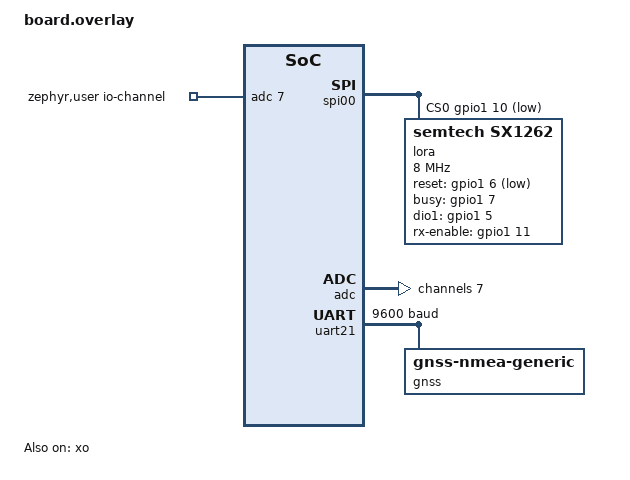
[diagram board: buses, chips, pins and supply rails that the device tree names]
/*
 * SPDX-License-Identifier: MIT
 * XIAO nRF54L15 + Wio-SX1262 LoRa
 *
 * Verified 2026-08-22 against primary sources (see datasheets/README.md):
 * Seeed XIAO nRF54L15 schematic, the Wio-SX1262-for-XIAO carrier schematic,
 * and the Wio-SX1262-N module datasheet.
 *
 * Pin mapping (XIAO nRF54L15 connector → Wio-SX1262):
 * - D1 (P1.05)  = DIO1    - D8  (P2.01)  = SPI SCK  (spi00)
 * - D2 (P1.06)  = RESET   - D9  (P2.04)  = SPI MISO (spi00)
 * - D3 (P1.07)  = BUSY    - D10 (P2.02)  = SPI MOSI (spi00)
 * - D4 (P1.10)  = NSS
 * - D5 (P1.11)  = RXEN
 * The D-pin numbers come from the XIAO schematic's connector sheet, and the
 * same D-pin assignment is used by our xiao_esp32c6 board on this same
 * Wio-SX1262 carrier — two independent boards agreeing on the kit's wiring.
 *
 * Radio module facts, from the Wio-SX1262-N module datasheet:
 * - RF_SW pin: "logic high level means enable receiver mode" → rx-enable-gpios
 *   is active high, which is what is set below.
 * - DIO2 is internally connected to the RF switch, "logic high = enable
 *   transmitter" → dio2-tx-enable, no separate TXEN line.
 * - DIO3 supplies the module's TCXO. Permitted 1.7–3.3 V, and it must stay at
 *   least 200 mV below VCC (3.3 V here), so the 1.8 V below is in range.
 * - The module wires the SX1262 for DC-DC, not LDO. The Zephyr driver already
 *   defaults to DC-DC — `regulator-ldo` must NOT be added to the lora node.
 *
 * Clocks: the XIAO carries its own 32.768 kHz crystal (7 pF, 20 ppm), so the
 * upstream board DTS enables LFXO and this node keeps accurate time. The
 * ME25LS02, the other nRF54L board here, has no such crystal and runs the RC
 * instead — do not copy clock settings between the two.
 *
 * Console: UART20 (P1.09 TX, P1.08 RX) via SAMD11 CMSIS-DAP bridge → USB CDC
 * Flash: RRAM (not traditional NV flash)
 * Flash via: SWD through SAMD11 CMSIS-DAP (west flash / openocd). The
 *   nRF54L15 has no USB peripheral, so there is no UF2 or DFU path — the
 *   published artifact is zephyr.hex, which links at RRAM base 0x0.
 *
 * Battery: the board has a charger (SGM40567, 200 mA) and a 2:1 divider on
 * P1.14/AIN7, gated by P1.15/VBAT_EN (already a boot-on regulator in the
 * upstream DTS). Read via the battery block at the bottom of this file.
 */

#include <zephyr/dt-bindings/lora/sx126x.h>

/ {
	aliases {
		lora0 = &lora;
	};
};

/* Zephyr main (4.5) split the nRF clock driver per clock; each one the
 * application uses must be enabled or it is not built (the BT controller fails
 * to compile without lfclk). Upstream's xiao_nrf54l15 DTS enables only &clock,
 * so we add the same pair as upstream's nrf54l15dk. LFCLK keeps the binding's
 * default source, the XIAO's own crystal (see "Clocks" above). */
&xo {
	status = "okay";
};

&lfclk {
	status = "okay";
};

/* Disable I2C22 — default pins P1.10/P1.11 (D4/D5) conflict with NSS/RXEN */
&i2c22 {
	status = "disabled";
};

/*
 * SX1262 on spi00 (XIAO SPI bus — SCK/MISO/MOSI already in pinctrl).
 *
 * Note the divergence from the ME25LS02, which is the same SoC talking to the
 * same radio: that board deletes `rx-delay-supported`/`rx-delay` from spi00
 * because MinewSemi's working sample does. This board keeps the SoC defaults
 * (rx-delay = 1) and works. Neither setting has been A/B'd on hardware, so
 * they are deliberately left as each board's known-good configuration rather
 * than unified on a guess.
 */
&spi00 {
	cs-gpios = <&gpio1 10 GPIO_ACTIVE_LOW>;  /* D4 = P1.10 NSS */

	lora: lora@0 {
		compatible = "semtech,sx1262";
		reg = <0>;
		spi-max-frequency = <8000000>;

		/* LoRa control pins */
		reset-gpios = <&gpio1 6 GPIO_ACTIVE_LOW>;   /* D2 = P1.06 */
		busy-gpios = <&gpio1 7 GPIO_ACTIVE_HIGH>;   /* D3 = P1.07 */
		dio1-gpios = <&gpio1 5 (GPIO_PULL_DOWN | GPIO_ACTIVE_HIGH)>;  /* D1 = P1.05 */

		/* RF switch: RXEN for RX, DIO2 drives TX enable */
		rx-enable-gpios = <&gpio1 11 GPIO_ACTIVE_HIGH>;  /* D5 = P1.11 RXEN */
		dio2-tx-enable;

		/* TCXO 1.8V via DIO3 */
		dio3-tcxo-voltage = <SX126X_DIO3_TCXO_1V8>;
		tcxo-power-startup-delay-ms = <10>;

		/* RX boosted mode for better sensitivity */
		rx-boosted;
	};
};

/*
 * RRAM partitions — repartition for ZephCore
 * Total RRAM: 1428KB (0x165000)
 *
 * Default layout: boot(64KB) + slot0(664KB) + slot1(664KB) + storage(36KB)
 * New layout (no MCUboot DFU for companion device):
 *
 * 0x00000 - 0x10000   (64KB)   MCUboot (reserved, even if unused)
 * 0x10000 - 0x14E000  (1272KB) Application (slot0 — expanded into slot1 space)
 * 0x14E000 - 0x165000 (92KB)   LittleFS (identity, contacts, channels, BLE bonds)
 */
/delete-node/ &slot0_partition;
/delete-node/ &slot1_partition;
/delete-node/ &storage_partition;

&cpuapp_rram {
	partitions {
		/* Application — expanded to use slot1 space */
		slot0_partition: partition@10000 {
			compatible = "zephyr,mapped-partition";
			label = "image-0";
			reg = <0x10000 0x13E000>;  /* 1272KB */
		};

		/* LittleFS 92KB for DataStore + file-based BLE settings */
		lfs_partition: partition@14e000 {
			compatible = "zephyr,mapped-partition";
			label = "lfs";
			reg = <0x14E000 0x17000>;
		};
	};
};

/* LittleFS auto-mount — standard /lfs mount point */
#include "../../common/filesystem.dtsi"

/*
 * Battery voltage.
 *
 * The schematic shows a 2:1 divider feeding P1.14/AIN7 ("battery voltage =
 * ADC sampling voltage * 2.0"), enabled by P1.15/VBAT_EN, which the upstream
 * board DTS already declares as `vbat_pwr` with regulator-boot-on. So a plain
 * ADC read needs no extra power sequencing.
 *
 * ZephyrBoard computes `mV = raw * vbat-mv-multiplier / 4096`, so the
 * multiplier encodes the ADC's full-scale voltage times the divider ratio.
 * DS v1.0 §8.18.7 is ambiguous by 2x here ("± 0.5*VREF/GAIN" vs a saturation
 * condition implying VREF/GAIN), so it was measured on hardware (2026-09-18)
 * by pointing this channel at the SoC's internal rails: AVDD (0.9 V nominal)
 * read raw 991 and VDD (3.3 V rail) read raw 3777 — 0.87 V and 3.32 V at a
 * 3.6 V full scale, impossible at 1.8 V. Full scale with gain 1/4 and the
 * 0.9 V reference is therefore 3.6 V, and the multiplier for the 2:1 divider
 * is 7200. Per-board trim: `set adc.multiplier target <mV>`.
 *
 * The upstream common dtsi already defines channel@7 on AIN7 with the same
 * settings plus `zephyr,oversampling = <8>`; this node merges into it and the
 * oversampling is inherited.
 */
&adc {
	status = "okay";

	#address-cells = <1>;
	#size-cells = <0>;

	channel@7 {
		reg = <7>;
		zephyr,gain = "ADC_GAIN_1_4";
		zephyr,reference = "ADC_REF_INTERNAL";
		zephyr,acquisition-time = <ADC_ACQ_TIME_DEFAULT>;
		zephyr,input-positive = <NRF_SAADC_AIN7>;
		zephyr,resolution = <12>;
	};
};

/ {
	zephyr,user {
		io-channels = <&adc 7>;
		vbat-mv-multiplier = <7200>;
	};
};

/* Optional GPS on the XIAO header serial (uart21: D6 = P2.08 TX, D7 = P2.07 RX),
 * pins the Wio-SX1262 kit leaves free.  Declared unconditionally, like the
 * RAK4631's optional RAK1910: a user who wires a 9600-baud NMEA module gets a
 * working GPS from the release image, and with nothing fitted the driver simply
 * never sees a fix.  The RX pad has a pull-up (upstream pinctrl), and the GPS
 * manager suspends the UART whenever the GPS is off or in standby, so an unused
 * port does not keep its receiver armed.  No power line: the manager uses the
 * UART sleep commands (PMTK + UBX) for standby. */
&uart21 {
	current-speed = <9600>;
	gnss: gnss-nmea-generic {
		compatible = "gnss-nmea-generic";
	};
};
